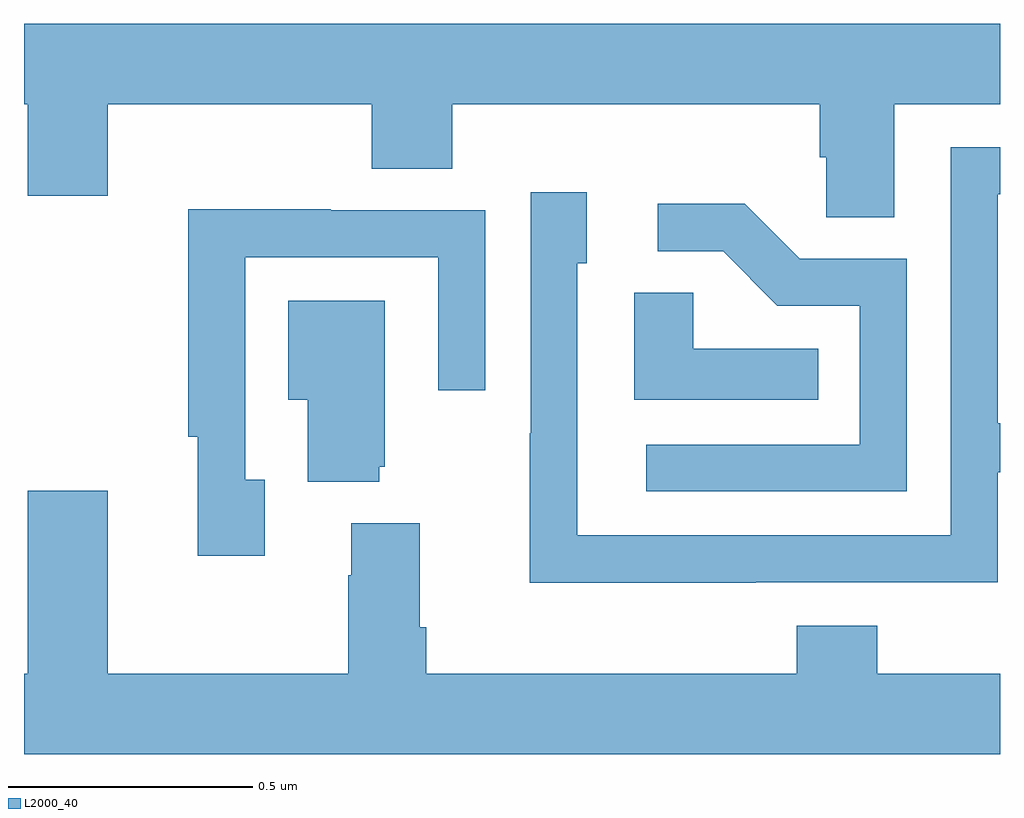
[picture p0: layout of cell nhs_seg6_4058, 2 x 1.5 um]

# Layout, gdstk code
import gdstk
lib = gdstk.Library(unit=1e-6, precision=1e-09)
def P(c, l, *ps):  # polygons
    for p in ps: c.add(gdstk.Polygon(p, *l))
L2000_40 = (2000, 40)

nhs_seg6_4058 = lib.new_cell('nhs_seg6_4058')
P(nhs_seg6_4058, L2000_40, [(166.783,942.008),(167,942.008),(167,942.172),(165,942.172),(165,942.008),(165.008,942.008),(165.008,941.82),(165.172,941.82),(165.172,942.008),(165.713,942.008),(165.713,941.875),(165.878,941.875),(165.878,942.008),(166.631,942.008),(166.631,941.899),(166.644,941.899),(166.644,941.776),(166.783,941.776)],
  [(166.499,941.028),(166.995,941.028),(166.995,941.253),(167,941.253),(167,941.354),(166.995,941.354),(166.995,941.823),(167,941.823),(167,941.919),(166.899,941.919),(166.899,941.124),(166.134,941.124),(166.134,941.682),(166.153,941.682),(166.153,941.827),(166.038,941.827),(166.038,941.333),(166.036,941.333),(166.036,941.027),(166.499,941.027)],
  [(166.809,941.691),(166.59,941.691),(166.477,941.804),(166.299,941.804),(166.299,941.706),(166.433,941.706),(166.544,941.595),(166.713,941.595),(166.713,941.31),(166.275,941.31),(166.275,941.214),(166.809,941.214)],
  [(165.493,941.238),(165.453,941.238),(165.453,941.694),(165.849,941.694),(165.849,941.421),(165.945,941.421),(165.945,941.79),(165.629,941.79),(165.629,941.792),(165.337,941.792),(165.337,941.326),(165.356,941.326),(165.356,941.082),(165.493,941.082)],
  [(166.628,941.506),(166.371,941.506),(166.371,941.621),(166.25,941.621),(166.25,941.402),(166.628,941.402)],
  [(165.728,941.265),(165.739,941.265),(165.739,941.605),(165.542,941.605),(165.542,941.402),(165.581,941.402),(165.581,941.234),(165.728,941.234)],
  [(167,940.84),(166.748,940.84),(166.748,940.939),(166.583,940.939),(166.583,940.84),(165.824,940.84),(165.824,940.936),(165.811,940.936),(165.811,941.149),(165.671,941.149),(165.671,941.042),(165.664,941.042),(165.664,940.84),(165.172,940.84),(165.172,941.215),(165.008,941.215),(165.008,940.84),(165,940.84),(165,940.676),(167,940.676)])

lib.write_gds('nhs_seg6_4058.gds')
